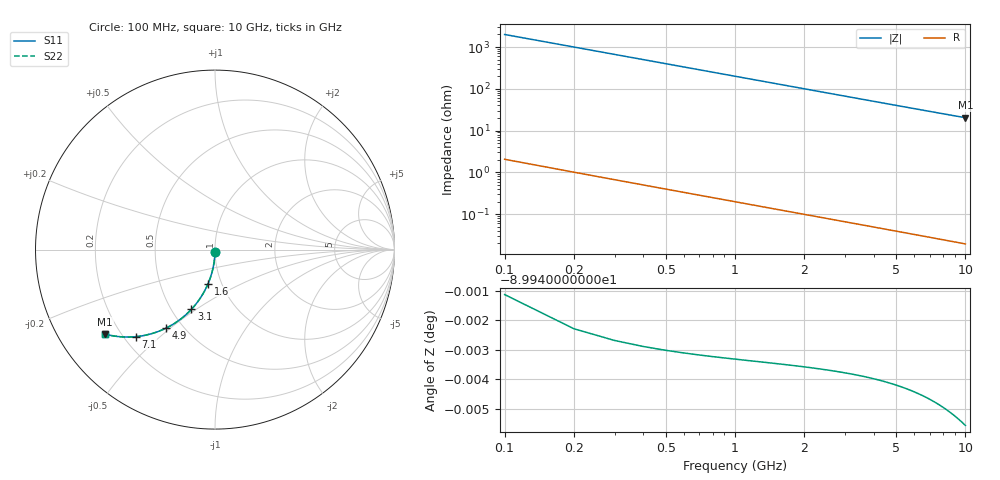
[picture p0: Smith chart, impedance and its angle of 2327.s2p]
# Hz S RI R 50.00
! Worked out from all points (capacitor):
!   100 points, 100 MHz to 10 GHz, reference 50 ohm
!   read as one part in shunt: C = 797 fF near 100 MHz
!   lowest |Z| = 20.3 ohm at 10 GHz (marker M1)
!   S11 on the Smith chart (normalised r, x): 100 MHz: 1.00, -0.02; 1.6 GHz: 0.86, -0.34; 3.1 GHz: 0.63, -0.48; 4.9 GHz: 0.40, -0.48; 7.1 GHz: 0.25, -0.42; 10 GHz: 0.14, -0.33
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1e8  -0.00014 -0.0124  0.9998 -0.0127  0.9998 -0.0127  -0.00014 -0.0124
2e8  -0.000622 -0.0247  0.9993 -0.0253  0.9993 -0.0253  -0.000622 -0.0247
3e8  -0.00142 -0.037  0.9985 -0.0379  0.9985 -0.0379  -0.00142 -0.037
4e8  -0.00252 -0.0493  0.9974 -0.0505  0.9974 -0.0505  -0.00252 -0.0493
5e8  -0.00393 -0.0616  0.996 -0.0631  0.996 -0.0631  -0.00393 -0.0616
6e8  -0.00565 -0.0737  0.9943 -0.0756  0.9943 -0.0756  -0.00565 -0.0737
7e8  -0.00767 -0.0859  0.9923 -0.088  0.9923 -0.088  -0.00767 -0.0859
9e8  -0.0126 -0.1098  0.9873 -0.1126  0.9873 -0.1126  -0.0126 -0.1098
1.2e9  -0.0222 -0.145  0.9778 -0.1486  0.9778 -0.1486  -0.0222 -0.145
1.6e9  -0.0387 -0.19  0.9612 -0.1949  0.9612 -0.1949  -0.0387 -0.19
1.8e9  -0.0485 -0.2116  0.9515 -0.217  0.9515 -0.217  -0.0485 -0.2116
2.4e9  -0.0829 -0.2717  0.917 -0.279  0.917 -0.279  -0.0829 -0.2717
3.1e9  -0.1311 -0.3323  0.8688 -0.3418  0.8688 -0.3418  -0.1311 -0.3323
3.4e9  -0.1536 -0.3549  0.8463 -0.3653  0.8463 -0.3653  -0.1536 -0.3549
4.1e9  -0.2087 -0.3996  0.7911 -0.4123  0.7911 -0.4123  -0.2087 -0.3996
4.9e9  -0.2737 -0.4378  0.7262 -0.4529  0.7262 -0.4529  -0.2737 -0.4378
5.1e9  -0.2898 -0.4453  0.71 -0.4611  0.71 -0.4611  -0.2898 -0.4453
5.9e9  -0.3533 -0.4684  0.6464 -0.4867  0.6464 -0.4867  -0.3533 -0.4684
6.7e9  -0.4134 -0.4815  0.5863 -0.5024  0.5863 -0.5024  -0.4134 -0.4815
7.1e9  -0.4419 -0.485  0.5578 -0.5072  0.5578 -0.5072  -0.4419 -0.485
8.4e9  -0.5259 -0.4856  0.4737 -0.512  0.4737 -0.512  -0.5259 -0.4856
1e10  -0.6116 -0.471  0.3878 -0.5027  0.3878 -0.5027  -0.6116 -0.471
